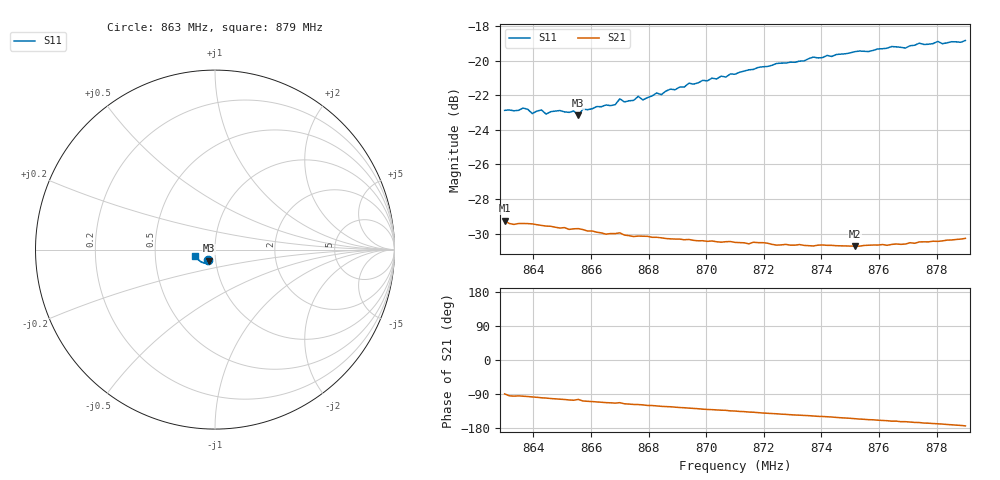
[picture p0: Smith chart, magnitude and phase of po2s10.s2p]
# HZ S RI R 50
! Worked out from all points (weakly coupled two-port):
!   101 points, 863 MHz to 879 MHz, reference 50 ohm
!   highest |S21| = -29.26 dB at 863 MHz (marker M1); lowest = -30.7 dB at 875.16 MHz (marker M2)
!   lowest |S11| = -23.2 dB at 865.56 MHz (marker M3), VSWR 1.15, Z = 46.5 - j5.72 ohm
!   |S11| at or under -10 dB: start of sweep to end of sweep
!   S12 and S22 are empty: the file has one direction only
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8.63e8  -0.0395 -0.06  0.000358 -0.0344  0 0  0 0
8.6364e8  -0.0411 -0.0602  -0.00329 -0.0337  0 0  0 0
8.6396e8  -0.0385 -0.0588  -0.0044 -0.0334  0 0  0 0
8.6428e8  -0.0394 -0.0602  -0.00561 -0.0329  0 0  0 0
8.6444e8  -0.0379 -0.0589  -0.00602 -0.0327  0 0  0 0
8.654e8  -0.0362 -0.0616  -0.00907 -0.0314  0 0  0 0
8.6556e8  -0.0328 -0.0612  -0.00791 -0.0317  0 0  0 0
8.6572e8  -0.0359 -0.0629  -0.0101 -0.0309  0 0  0 0
8.6684e8  -0.0372 -0.0646  -0.0127 -0.0289  0 0  0 0
8.67e8  -0.0402 -0.0663  -0.0122 -0.0293  0 0  0 0
8.6716e8  -0.0378 -0.0659  -0.0135 -0.0282  0 0  0 0
8.6764e8  -0.0403 -0.0677  -0.0144 -0.0276  0 0  0 0
8.678e8  -0.0385 -0.0666  -0.0148 -0.0273  0 0  0 0
8.6828e8  -0.0408 -0.0695  -0.016 -0.0264  0 0  0 0
8.6844e8  -0.0408 -0.0684  -0.0164 -0.026  0 0  0 0
8.694e8  -0.046 -0.0727  -0.0183 -0.0243  0 0  0 0
8.71e8  -0.054 -0.0736  -0.021 -0.0212  0 0  0 0
8.7372e8  -0.0733 -0.0714  -0.0246 -0.0155  0 0  0 0
8.7516e8  -0.0847 -0.0639  -0.0263 -0.0124  0 0  0 0
8.7644e8  -0.0946 -0.0556  -0.0279 -0.00939  0 0  0 0
8.7692e8  -0.0952 -0.0524  -0.0282 -0.00875  0 0  0 0
8.79e8  -0.1087 -0.0353  -0.0305 -0.00328  0 0  0 0
